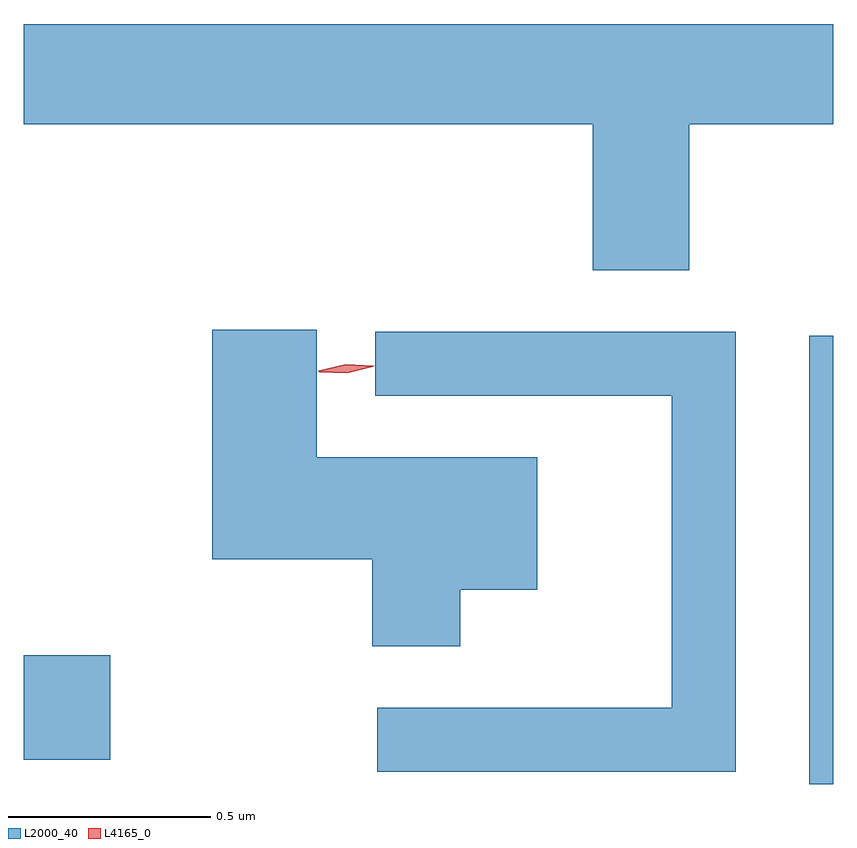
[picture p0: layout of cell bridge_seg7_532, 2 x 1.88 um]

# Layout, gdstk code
import gdstk
lib = gdstk.Library(unit=1e-6, precision=1e-09)
def R(c, l, rs):  # rectangles x0, y0, x1, y1
    for r in rs: c.add(gdstk.rectangle(r[:2], r[2:], *l))
def P(c, l, *ps):  # polygons
    for p in ps: c.add(gdstk.Polygon(p, *l))
L2000_40 = (2000, 40)
L4165_0 = (4165, 0)

bridge_seg7_532 = lib.new_cell('bridge_seg7_532')
R(bridge_seg7_532, L2000_40, [(1332.661,1730.446,1332.72,1731.554), (1330.72,1730.506,1330.934,1730.764)])
P(bridge_seg7_532, L2000_40, [(1332.364,1732.076),(1332.72,1732.076),(1332.72,1732.324),(1330.72,1732.324),(1330.72,1732.076),(1332.126,1732.076),(1332.126,1731.716),(1332.364,1731.716)],
  [(1331.799,1730.926),(1331.989,1730.926),(1331.989,1731.254),(1331.444,1731.254),(1331.444,1731.569),(1331.186,1731.569),(1331.186,1731.001),(1331.581,1731.001),(1331.581,1730.786),(1331.799,1730.786)],
  [(1332.479,1731.564),(1331.588,1731.564),(1331.588,1731.406),(1332.321,1731.406),(1332.321,1730.634),(1331.593,1730.634),(1331.593,1730.476),(1332.479,1730.476)])
P(bridge_seg7_532, L4165_0, [(1331.518,1731.463),(1331.448,1731.466),(1331.448,1731.466),(1331.448,1731.467),(1331.516,1731.483),(1331.585,1731.48),(1331.586,1731.48),(1331.585,1731.479)],
  [(1331.518,1731.461),(1331.451,1731.464),(1331.45,1731.465),(1331.451,1731.465),(1331.516,1731.481),(1331.582,1731.478),(1331.583,1731.477),(1331.582,1731.477)])

lib.write_gds('bridge_seg7_532.gds')
